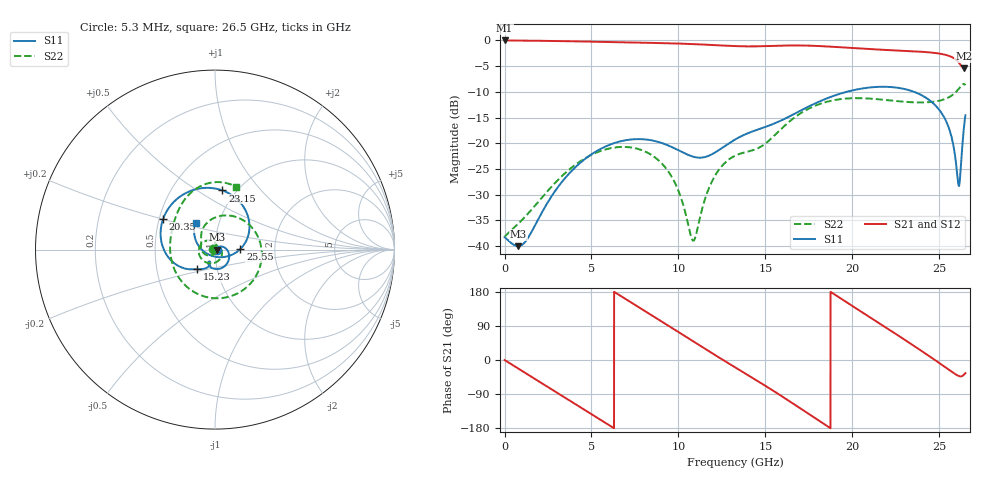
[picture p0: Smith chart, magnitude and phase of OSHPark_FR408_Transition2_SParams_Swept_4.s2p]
! TOUCHSTONE file generated by CST MICROWAVE STUDIO
! Date and time: Tue Jan  7 09:43:08 2020
! Project name: OSHPark_FR408_Transition2.cst
! Parameters = {GND_Plane_XMax=12.25; Cap_Disk_XOffset=0; Cap_Disk2_YCenter=-1.03; Cap_Disk_YCenter=1.03; Cap_Disk_XCenter=7.39; Cap_Disk_Radius=0.5; BottomSupport_Left_YMax=4.76; BottomSupport_Left_YMin=3.74; BottomSupport_Right_YMax=-3.74; BottomSupport_Right_YMin=-4.76; BottomSupport_XMax=11.64; 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
! Header version: 2015
! Port assignment regex: !\s*Touchstone port\s*([0-9]+)\s*=\s*CST MWS port\s*([0-9]+)\s*\(\"(.*)\"\)(\s*mode\s*([0-9]+))?.*
! Touchstone port assignment:
! Touchstone port 1 = CST MWS port 1 ("")
! Touchstone port 2 = CST MWS port 2 ("")
# GHz S MA R 50
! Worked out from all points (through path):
!   5000 points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, 5.3 MHz to 26.5 GHz, reference 50 ohm
!   highest |S21| = 0.00 dB at 5.3 MHz (marker M1); lowest = -5.4 dB at 26.4 GHz (marker M2)
!   group delay of S21, straight-line fit = 80.7 ps
!   lowest |S11| = -40.0 dB at 784.4 MHz (marker M3), VSWR 1.02, Z = 51 + j0.0142 ohm
!   |S11| at or under -10 dB: start of sweep to 19.67 GHz; 23.55 GHz to end of sweep
!   |S22| runs from -39.0 to -8.5 dB; largest |S21 - S12| = 0
!   S11 on the Smith chart (normalised r, x): 5.3 MHz: 1.02, -0.01; 15.23 GHz: 0.80, -0.18; 20.35 GHz: 0.52, +0.20; 23.15 GHz: 0.87, +0.64; 25.55 GHz: 1.33, +0.01; 26.5 GHz: 0.77, +0.25
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0.0053  0.01219 -23.7  0.9999 -0.2  0.9999 -0.2  0.01239 154.2
0.7844  0.009971 0.8  0.9975 -22.4  0.9975 -22.4  0.01648 99.5
2.6712  0.02986 33.4  0.989 -76.4  0.989 -76.4  0.03727 -9.3
4.4255  0.06601 0.4  0.9775 -126.6  0.9775 -126.6  0.06795 -79.4
6.5561  0.1033 -50.8  0.9613 172.6  0.9613 172.6  0.09174 -150.5
8.8404  0.103 -100.7  0.9438 107.1  0.9438 107.1  0.06857 133.3
9.8951  0.08728 -115.2  0.9338 76.7  0.9338 76.7  0.03801 90.4
10.8597  0.0739 -117.0  0.9215 48.9  0.9215 48.9  0.01126 -16.2
11.9462  0.07844 -109.3  0.9034 17.6  0.9034 17.6  0.04314 -128.8
13.2553  0.1086 -113.4  0.8815 -19.3  0.8815 -19.3  0.07558 -179.9
15.2269  0.1489 -132.8  0.8832 -74.6  0.8832 -74.6  0.1069 136.4
16.4141  0.1836 -143.5  0.8937 -109.7  0.8937 -109.7  0.1643 100.6
17.6702  0.2356 -160.2  0.8882 -147.6  0.8882 -147.6  0.2245 48.7
18.9528  0.2902 177.5  0.866 173.7  0.866 173.7  0.2626 -6.7
20.352  0.336 149.2  0.8362 132.2  0.8362 132.2  0.2746 -62.9
22.0851  0.3533 109.7  0.8066 81.1  0.8066 81.1  0.2618 -121.5
23.1451  0.3322 82.8  0.7913 49.4  0.7913 49.4  0.2522 -151.6
24.4012  0.2648 46.9  0.7665 10.9  0.7665 10.9  0.2511 175.7
25.546  0.1414 1.4  0.7088 -25.5  0.7088 -25.5  0.2799 143.0
26.1078  0.03887 -94.9  0.6127 -41.9  0.6127 -41.9  0.3367 116.4
26.3993  0.1331 148.0  0.5374 -39.6  0.5374 -39.6  0.3769 86.5
26.5  0.1869 124.4  0.5638 -34.7  0.5638 -34.7  0.3668 70.3
